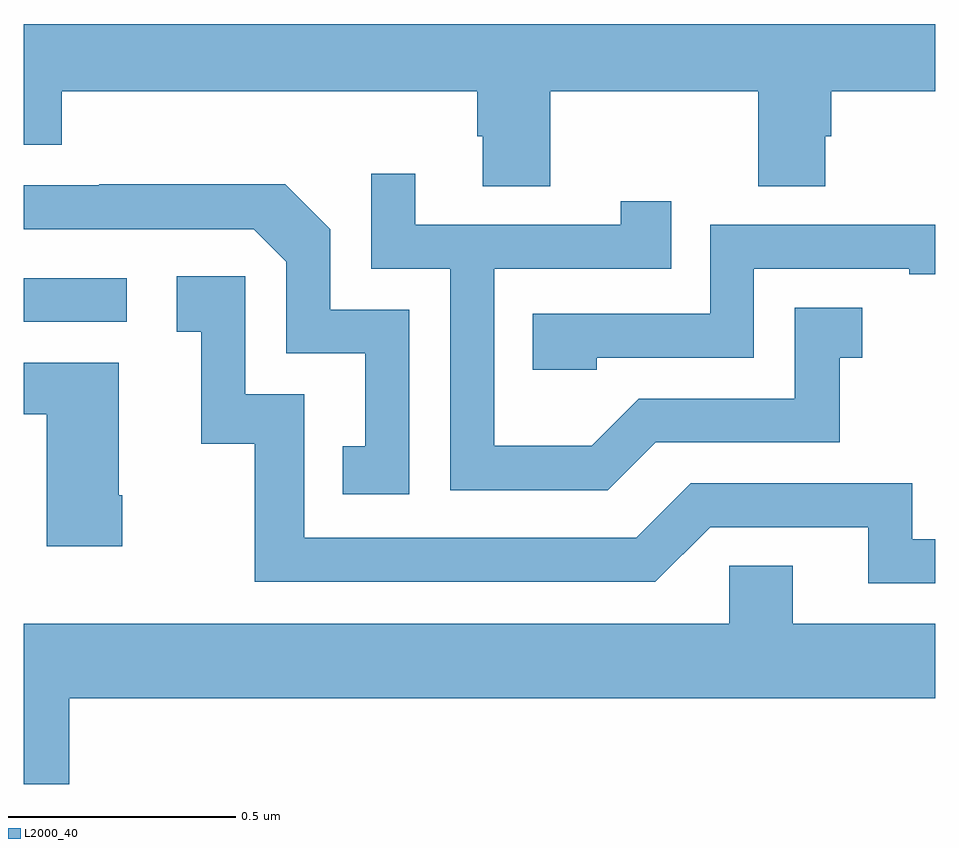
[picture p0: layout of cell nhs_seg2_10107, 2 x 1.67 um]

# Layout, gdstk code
import gdstk
lib = gdstk.Library(unit=1e-6, precision=1e-09)
def R(c, l, rs):  # rectangles x0, y0, x1, y1
    for r in rs: c.add(gdstk.rectangle(r[:2], r[2:], *l))
def P(c, l, *ps):  # polygons
    for p in ps: c.add(gdstk.Polygon(p, *l))
L2000_40 = (2000, 40)

nhs_seg2_10107 = lib.new_cell('nhs_seg2_10107')
R(nhs_seg2_10107, L2000_40, [(237,631.146,237.226,631.242)])
P(nhs_seg2_10107, L2000_40, [(238.155,631.652),(238.612,631.652),(238.612,631.444),(238.759,631.444),(238.759,631.554),(238.772,631.554),(238.772,631.652),(239,631.652),(239,631.8),(237,631.8),(237,631.535),(237.083,631.535),(237.083,631.652),(237.995,631.652),(237.995,631.554),(238.007,631.554),(238.007,631.444),(238.155,631.444)],
  [(238.387,630.882),(238.791,630.882),(238.791,631.067),(238.84,631.067),(238.84,631.177),(238.692,631.177),(238.692,630.978),(238.35,630.978),(238.246,630.874),(238.032,630.874),(238.032,631.263),(238.421,631.263),(238.421,631.411),(238.31,631.411),(238.31,631.359),(237.859,631.359),(237.859,631.471),(237.762,631.471),(237.762,631.263),(237.936,631.263),(237.936,630.777),(238.282,630.777)],
  [(237.846,631.173),(237.672,631.173),(237.672,631.35),(237.574,631.448),(237.166,631.448),(237.166,631.446),(237,631.446),(237,631.35),(237.504,631.35),(237.576,631.278),(237.576,631.077),(237.749,631.077),(237.749,630.873),(237.7,630.873),(237.7,630.768),(237.846,630.768)],
  [(238.257,631.068),(238.602,631.068),(238.602,631.263),(238.943,631.263),(238.943,631.251),(239,631.251),(239,631.359),(238.506,631.359),(238.506,631.164),(238.117,631.164),(238.117,631.041),(238.257,631.041)],
  [(239,630.669),(238.95,630.669),(238.95,630.792),(238.464,630.792),(238.344,630.672),(237.615,630.672),(237.615,630.987),(237.486,630.987),(237.486,631.246),(237.336,631.246),(237.336,631.125),(237.389,631.125),(237.389,630.879),(237.507,630.879),(237.507,630.576),(238.386,630.576),(238.506,630.696),(238.853,630.696),(238.853,630.573),(239,630.573)],
  [(237.216,630.766),(237.208,630.766),(237.208,631.057),(237,631.057),(237,630.943),(237.05,630.943),(237.05,630.654),(237.216,630.654)],
  [(237.1,630.32),(239,630.32),(239,630.484),(238.687,630.484),(238.687,630.611),(238.548,630.611),(238.548,630.484),(237,630.484),(237,630.132),(237.1,630.132)])

lib.write_gds('nhs_seg2_10107.gds')
